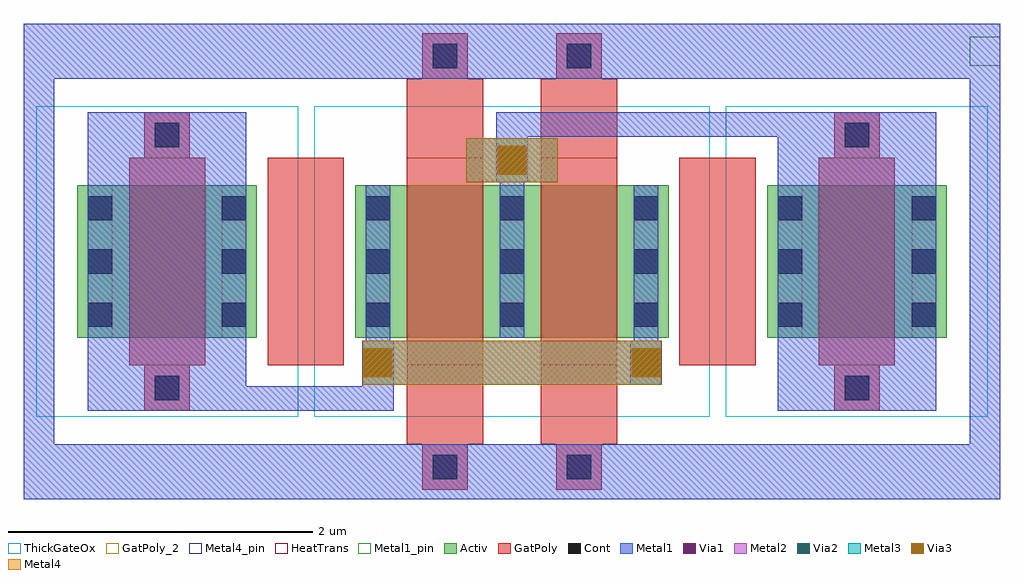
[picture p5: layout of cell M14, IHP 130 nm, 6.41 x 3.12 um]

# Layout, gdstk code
import gdstk
lib = gdstk.Library(unit=1e-6, precision=1e-09)
def R(c, l, rs):  # rectangles x0, y0, x1, y1
    for r in rs: c.add(gdstk.rectangle(r[:2], r[2:], *l))
def A(c, l, x, y, w, h, nx, ny, dx, dy):  # array of equal rectangles
    R(c, l, [(x+i*dx, y+j*dy, x+i*dx+w, y+j*dy+h) for i in range(nx) for j in range(ny)])
Activ = (1, 0)
GatPoly = (5, 0)
GatPoly_2 = (5, 2)
Cont = (6, 0)
Metal1 = (8, 0)
Metal1_pin = (8, 2)
Metal2 = (10, 0)
Via1 = (19, 0)
Via2 = (29, 0)
Metal3 = (30, 0)
ThickGateOx = (44, 0)
Via3 = (49, 0)
Metal4 = (50, 0)
Metal4_pin = (50, 2)
HeatTrans = (51, 0)

nmoshv_priv1 = lib.new_cell('nmosHV_priv1')
A(nmoshv_priv1, Activ, 0, 0, 0.3, 0.3, 3, 1, 0.88, 0)
R(nmoshv_priv1, Activ, [(0,0,2.06,1)])
R(nmoshv_priv1, GatPoly, [(0.44,-1,0.74,-0.7), (1.32,-1,1.62,-0.7), (0.34,-0.7,0.84,-0.18), (1.22,-0.7,1.72,-0.18), (0.34,-0.18,0.84,1.18), (1.22,-0.18,1.72,1.18), (0.34,1.18,0.84,1.7), (1.22,1.18,1.72,1.7), (0.44,1.7,0.74,2), (1.32,1.7,1.62,2)])
R(nmoshv_priv1, GatPoly_2, [(0.34,-0.18,0.84,1.18)])
A(nmoshv_priv1, Cont, 0.07, 0.07, 0.16, 0.16, 3, 3, 0.88, 0.35)
R(nmoshv_priv1, Cont, [(0.51,-0.93,0.67,-0.77), (1.39,-0.93,1.55,-0.77), (0.51,1.77,0.67,1.93), (1.39,1.77,1.55,1.93)])
A(nmoshv_priv1, Metal1, 0.07, 0, 0.16, 1, 3, 1, 0.88, 0)
R(nmoshv_priv1, Metal1, [(0.455,-1.06,0.725,-0.7), (1.335,-1.06,1.605,-0.7), (0.045,-0.31,0.255,-0.02), (1.805,-0.31,2.015,-0.02), (0.07,-0.035,0.23,0.015), (1.83,-0.035,1.99,0.015), (0.95,0.985,1.11,1.035), (0.925,1.02,1.135,1.31), (0.455,1.7,0.725,2.06), (1.335,1.7,1.605,2.06)])
R(nmoshv_priv1, Metal1_pin, [(0.07,0,0.23,1), (0.95,0,1.11,1)])
R(nmoshv_priv1, Metal2, [(0.05,-0.31,2.01,-0.02), (0.05,-0.31,0.25,-0.02), (1.81,-0.31,2.01,-0.02), (0.73,1.02,1.33,1.31), (0.93,1.02,1.13,1.31)])
R(nmoshv_priv1, Via1, [(0.055,-0.26,0.245,-0.07), (1.815,-0.26,2.005,-0.07), (0.935,1.07,1.125,1.26)])
R(nmoshv_priv1, Via2, [(0.055,-0.26,0.245,-0.07), (1.815,-0.26,2.005,-0.07), (0.935,1.07,1.125,1.26)])
R(nmoshv_priv1, Metal3, [(0.05,-0.31,2.01,-0.02), (0.05,-0.31,0.25,-0.02), (1.81,-0.31,2.01,-0.02), (0.73,1.02,1.33,1.31), (0.93,1.02,1.13,1.31)])
R(nmoshv_priv1, ThickGateOx, [(-0.27,-0.52,2.33,1.52)])
R(nmoshv_priv1, Via3, [(0.055,-0.26,0.245,-0.07), (1.815,-0.26,2.005,-0.07), (0.935,1.07,1.125,1.26)])
R(nmoshv_priv1, Metal4, [(0.05,-0.31,2.01,-0.02), (0.05,-0.31,0.25,-0.02), (1.81,-0.31,2.01,-0.02), (0.73,1.02,1.33,1.31), (0.93,1.02,1.13,1.31)])
R(nmoshv_priv1, Metal4_pin, [(1.815,-0.26,2.005,-0.07), (0.935,1.07,1.125,1.26)])
R(nmoshv_priv1, HeatTrans, [(0.34,-0.18,0.84,1.18), (1.22,-0.18,1.72,1.18)])
nmoshv_priv1.add(gdstk.Label('nmosHV', (0.59,0.5), layer=63, texttype=0))
nmoshv_priv1.add(gdstk.Label('nmosHV', (0.59,0.5), layer=51, texttype=0))
nmoshv_priv1.add(gdstk.Label('nmosHV', (1.47,0.5), layer=51, texttype=0))
nmoshv_priv1.add(gdstk.Label('S', (1.03,1.165), layer=50, texttype=0))
nmoshv_priv1.add(gdstk.Label('D', (1.91,-0.165), layer=50, texttype=0))

nmoshv_7_priv1 = lib.new_cell('nmosHV$7_priv1')
R(nmoshv_7_priv1, Activ, [(0,0,0.3,0.3), (0,0,1.18,1), (0.88,0,1.18,0.3)])
R(nmoshv_7_priv1, GatPoly, [(0.44,-0.48,0.74,-0.18), (0.34,-0.18,0.84,1.18), (0.44,1.18,0.74,1.48)])
R(nmoshv_7_priv1, GatPoly_2, [(0.34,-0.18,0.84,1.18)])
A(nmoshv_7_priv1, Cont, 0.07, 0.07, 0.16, 0.16, 1, 3, 0, 0.35)
A(nmoshv_7_priv1, Cont, 0.95, 0.07, 0.16, 0.16, 1, 3, 0, 0.35)
R(nmoshv_7_priv1, Cont, [(0.51,-0.41,0.67,-0.25), (0.51,1.25,0.67,1.41)])
R(nmoshv_7_priv1, Metal1, [(0.07,-0.48,1.11,1.48), (0.07,0,0.23,1), (0.95,0,1.11,1)])
R(nmoshv_7_priv1, Metal1_pin, [(0.07,0,0.23,1), (0.95,0,1.11,1)])
R(nmoshv_7_priv1, ThickGateOx, [(-0.27,-0.52,1.45,1.52)])
R(nmoshv_7_priv1, HeatTrans, [(0.34,-0.18,0.84,1.18)])
nmoshv_7_priv1.add(gdstk.Label('nmosHV', (0.59,0.5), layer=63, texttype=0))
nmoshv_7_priv1.add(gdstk.Label('nmosHV', (0.59,0.5), layer=51, texttype=0))

nmoshv_7_priv2 = lib.new_cell('nmosHV$7_priv2')
R(nmoshv_7_priv2, Activ, [(0,0,0.3,0.3), (0,0,1.18,1), (0.88,0,1.18,0.3)])
R(nmoshv_7_priv2, GatPoly, [(0.44,-0.48,0.74,-0.18), (0.34,-0.18,0.84,1.18), (0.44,1.18,0.74,1.48)])
R(nmoshv_7_priv2, GatPoly_2, [(0.34,-0.18,0.84,1.18)])
A(nmoshv_7_priv2, Cont, 0.07, 0.07, 0.16, 0.16, 1, 3, 0, 0.35)
A(nmoshv_7_priv2, Cont, 0.95, 0.07, 0.16, 0.16, 1, 3, 0, 0.35)
R(nmoshv_7_priv2, Cont, [(0.51,-0.41,0.67,-0.25), (0.51,1.25,0.67,1.41)])
R(nmoshv_7_priv2, Metal1, [(0.07,-0.48,1.11,1.48), (0.07,0,0.23,1), (0.95,0,1.11,1)])
R(nmoshv_7_priv2, Metal1_pin, [(0.07,0,0.23,1), (0.95,0,1.11,1)])
R(nmoshv_7_priv2, ThickGateOx, [(-0.27,-0.52,1.45,1.52)])
R(nmoshv_7_priv2, HeatTrans, [(0.34,-0.18,0.84,1.18)])
nmoshv_7_priv2.add(gdstk.Label('nmosHV', (0.59,0.5), layer=63, texttype=0))
nmoshv_7_priv2.add(gdstk.Label('nmosHV', (0.59,0.5), layer=51, texttype=0))

m14 = lib.new_cell('M14')
R(m14, GatPoly, [(339.175,460.715,339.675,462.075), (341.88,460.715,342.38,462.075)])
R(m14, Metal1, [(337.575,459.835,343.985,460.195), (337.575,459.835,337.775,462.955), (343.785,459.835,343.985,462.955), (339.035,460.415,340.005,460.575), (339.795,460.575,340.005,460.875), (340.675,461.915,340.885,462.215), (340.675,462.215,342.525,462.375), (337.575,462.595,343.985,462.955)])
R(m14, Metal1_pin, [(343.785,462.68,343.985,462.87)])
m14.add(gdstk.Reference(nmoshv_priv1, (339.75,460.895)))
m14.add(gdstk.Reference(nmoshv_7_priv1, (337.925,460.895)))
m14.add(gdstk.Reference(nmoshv_7_priv2, (342.455,460.895)))

lib.write_gds('M14.gds')
